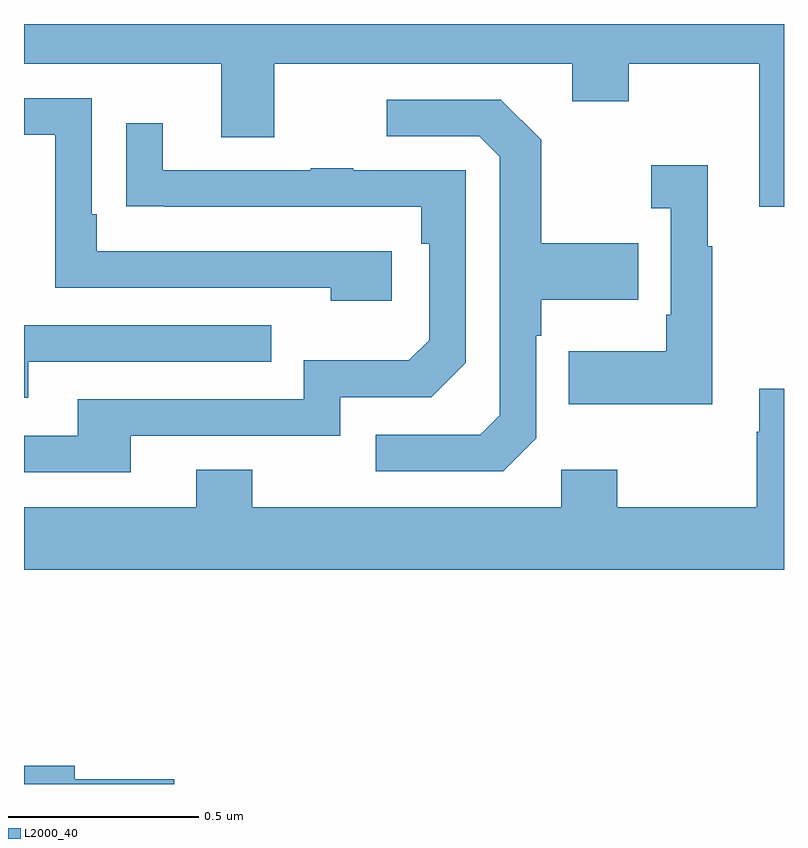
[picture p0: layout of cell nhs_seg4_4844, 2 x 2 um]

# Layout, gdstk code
import gdstk
lib = gdstk.Library(unit=1e-6, precision=1e-09)
def P(c, l, *ps):  # polygons
    for p in ps: c.add(gdstk.Polygon(p, *l))
L2000_40 = (2000, 40)

nhs_seg4_4844 = lib.new_cell('nhs_seg4_4844')
P(nhs_seg4_4844, L2000_40, [(172,820.9),(170,820.9),(170,820.796),(170.519,820.796),(170.519,820.602),(170.659,820.602),(170.659,820.796),(171.443,820.796),(171.443,820.697),(171.591,820.697),(171.591,820.796),(171.935,820.796),(171.935,820.419),(172,820.419)],
  [(170.968,820.302),(170.191,820.302),(170.191,820.399),(170.178,820.399),(170.178,820.704),(170,820.704),(170,820.608),(170.082,820.608),(170.082,820.206),(170.807,820.206),(170.807,820.172),(170.968,820.172)],
  [(171.348,819.81),(171.348,820.079),(171.361,820.079),(171.361,820.175),(171.617,820.175),(171.617,820.323),(171.361,820.323),(171.361,820.595),(171.255,820.701),(170.955,820.701),(170.955,820.605),(171.198,820.605),(171.252,820.551),(171.252,819.87),(171.201,819.819),(170.925,819.819),(170.925,819.723),(171.261,819.723)],
  [(170.281,819.816),(170.832,819.816),(170.832,819.918),(171.072,819.918),(171.162,820.008),(171.162,820.515),(170.867,820.515),(170.867,820.52),(170.755,820.52),(170.755,820.515),(170.365,820.515),(170.365,820.639),(170.269,820.639),(170.269,820.42),(170.371,820.42),(170.371,820.419),(171.046,820.419),(171.046,820.322),(171.066,820.322),(171.066,820.068),(171.013,820.015),(170.736,820.015),(170.736,819.912),(170.141,819.912),(170.141,819.816),(170,819.816),(170,819.72),(170.281,819.72)],
  [(171.811,820.315),(171.799,820.315),(171.799,820.528),(171.651,820.528),(171.651,820.415),(171.702,820.415),(171.702,820.135),(171.69,820.135),(171.69,820.039),(171.433,820.039),(171.433,819.899),(171.811,819.899)],
  [(170.011,820.011),(170.651,820.011),(170.651,820.107),(170,820.107),(170,819.917),(170.011,819.917)],
  [(172,819.94),(171.935,819.94),(171.935,819.827),(171.928,819.827),(171.928,819.628),(171.561,819.628),(171.561,819.727),(171.414,819.727),(171.414,819.628),(170.601,819.628),(170.601,819.727),(170.453,819.727),(170.453,819.628),(170,819.628),(170,819.464),(172,819.464)],
  [(170.395,818.912),(170.134,818.912),(170.134,818.948),(170,818.948),(170,818.9),(170.395,818.9)])

lib.write_gds('nhs_seg4_4844.gds')
